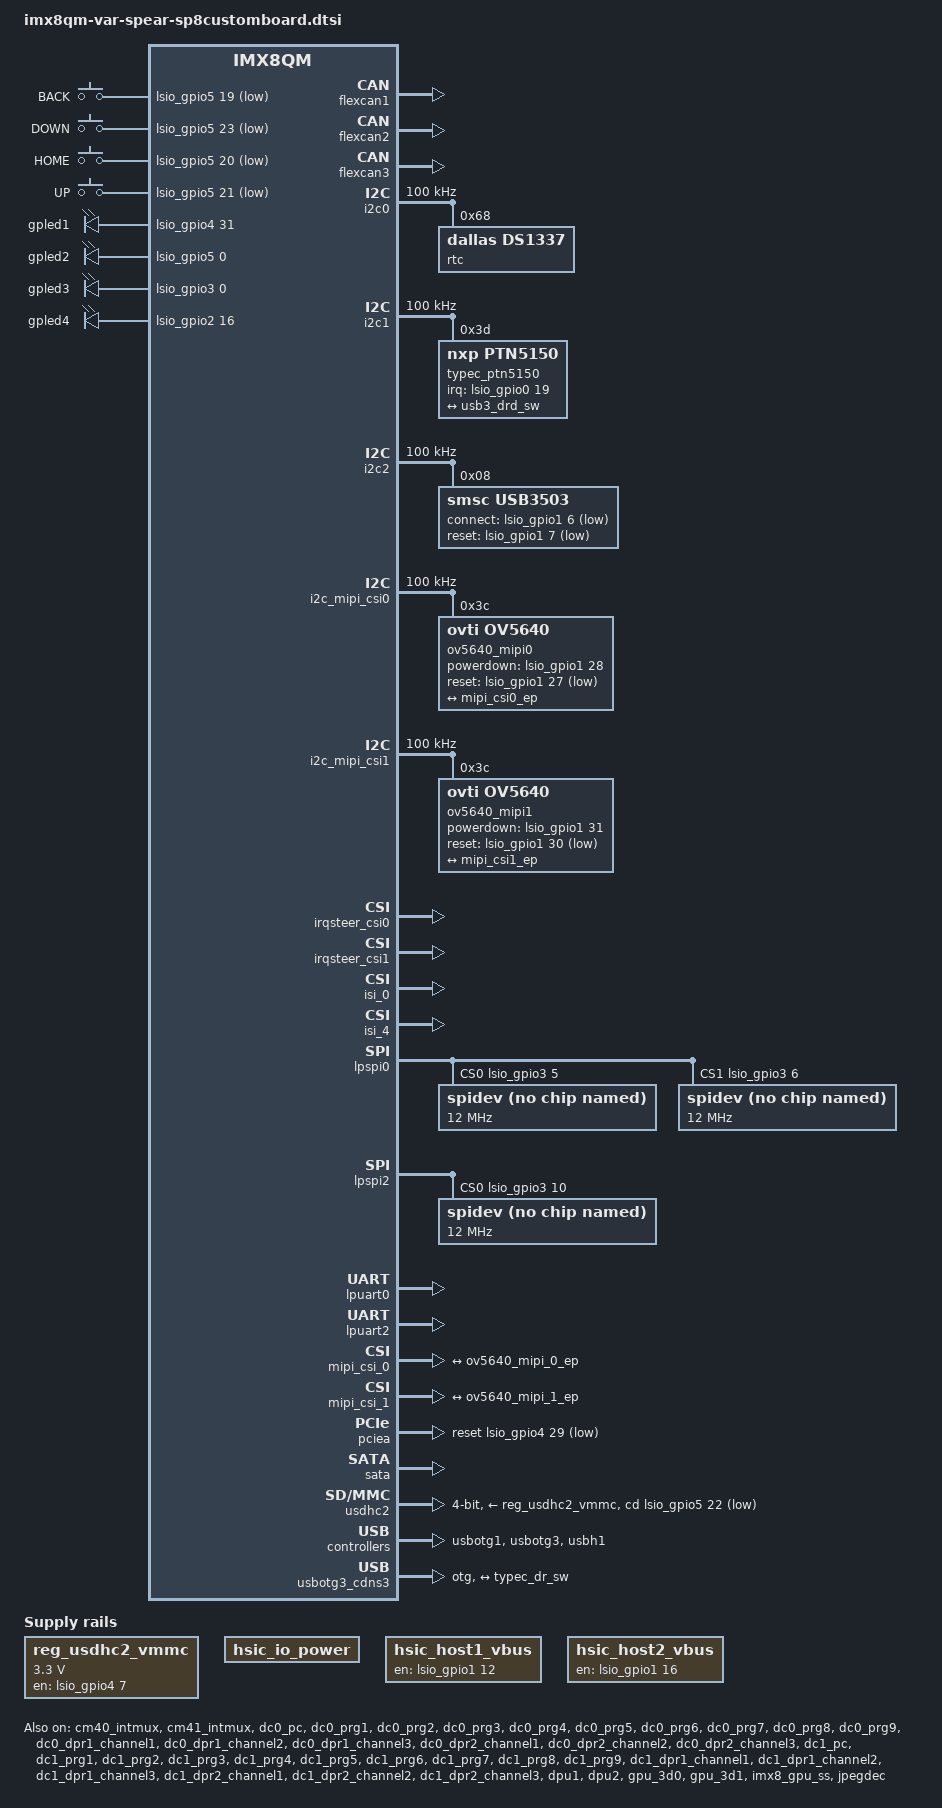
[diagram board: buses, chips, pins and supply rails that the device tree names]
/*
 * Copyright (C) 2016 Freescale Semiconductor, Inc.
 * Copyright 2017 NXP
 * Copyright 2019-2022 Variscite Ltd.
 *
 * This program is free software; you can redistribute it and/or
 * modify it under the terms of the GNU General Public License
 * as published by the Free Software Foundation; either version 2
 * of the License, or (at your option) any later version.
 *
 * This program is distributed in the hope that it will be useful,
 * but WITHOUT ANY WARRANTY; without even the implied warranty of
 * MERCHANTABILITY or FITNESS FOR A PARTICULAR PURPOSE.  See the
 * GNU General Public License for more details.
 */

#include "imx8qm-var-spear.dtsi"

/ {
	chosen {
		stdout-path = &lpuart0;
	};

	gpio-keys {
		compatible = "gpio-keys";
		pinctrl-names = "default";
		pinctrl-0 = <&pinctrl_gpio_keys>;

		back {
			label = "BACK";
			gpios = <&lsio_gpio5 19 GPIO_ACTIVE_LOW>;
			linux,code = <KEY_BACK>;
		};

		down {
			label = "DOWN";
			gpios = <&lsio_gpio5 23 GPIO_ACTIVE_LOW>;
			linux,code = <KEY_DOWN>;
		};

		home {
			label = "HOME";
			gpios = <&lsio_gpio5 20 GPIO_ACTIVE_LOW>;
			linux,code = <KEY_HOME>;
		};

		up {
			label = "UP";
			gpios = <&lsio_gpio5 21 GPIO_ACTIVE_LOW>;
			linux,code = <KEY_UP>;
		};
	};

	leds {
		compatible = "gpio-leds";
		pinctrl-names = "default";
		pinctrl-0 = <&pinctrl_gpio_leds>;

		gpled1 {
			label = "gpled1";
			gpios = <&lsio_gpio4 31 GPIO_ACTIVE_HIGH>;
			default-state = "on";
			linux,default-trigger = "heartbeat";
		};

		gpled2 {
			label = "gpled2";
			gpios = <&lsio_gpio5 0 GPIO_ACTIVE_HIGH>;
			default-state = "on";
			linux,default-trigger = "mmc0";
		};

		gpled3 {
			label = "gpled3";
			gpios = <&lsio_gpio3 0 GPIO_ACTIVE_HIGH>;
			default-state = "on";
			linux,default-trigger = "mmc1";
		};

		gpled4 {
			label = "gpled4";
			gpios = <&lsio_gpio2 16 GPIO_ACTIVE_HIGH>;
			default-state = "on";
			linux,default-trigger = "mmc1";
		};
	};

	regulators: regulators {
		compatible = "simple-bus";
		#address-cells = <1>;
		#size-cells = <0>;

		reg_usdhc2_vmmc: usdhc2_vmmc {
			compatible = "regulator-fixed";
			regulator-name = "sw-3p3-sd1";
			regulator-min-microvolt = <3300000>;
			regulator-max-microvolt = <3300000>;
			gpio = <&lsio_gpio4 7 GPIO_ACTIVE_HIGH>;
			enable-active-high;
		};

		hsic_io_power: hsic_io_power {
			compatible = "regulator-fixed";
			regulator-name = "hsic_io_power";
			regulator-always-on;
		};

		hsic_host1_vbus: hsic_host1_vbus {
			compatible = "regulator-fixed";
			regulator-name = "hsic_host1_vbus";
			gpio = <&lsio_gpio1 12 GPIO_ACTIVE_HIGH>;
			enable-active-high;
			regulator-always-on;
		};

		hsic_host2_vbus: hsic_host2_vbus {
			compatible = "regulator-fixed";
			regulator-name = "hsic_host2_vbus";
			gpio = <&lsio_gpio1 16 GPIO_ACTIVE_HIGH>;
			enable-active-high;
			regulator-always-on;
		};
	};
};

&cm40_intmux {
	status = "okay";
};

&cm41_intmux {
	status = "okay";
};

&dc0_pc {
	status = "okay";
};

&dc0_prg1 {
	status = "okay";
};

&dc0_prg2 {
	status = "okay";
};

&dc0_prg3 {
	status = "okay";
};

&dc0_prg4 {
	status = "okay";
};

&dc0_prg5 {
	status = "okay";
};

&dc0_prg6 {
	status = "okay";
};

&dc0_prg7 {
	status = "okay";
};

&dc0_prg8 {
	status = "okay";
};

&dc0_prg9 {
	status = "okay";
};

&dc0_dpr1_channel1 {
	status = "okay";
};

&dc0_dpr1_channel2 {
	status = "okay";
};

&dc0_dpr1_channel3 {
	status = "okay";
};

&dc0_dpr2_channel1 {
	status = "okay";
};

&dc0_dpr2_channel2 {
	status = "okay";
};

&dc0_dpr2_channel3 {
	status = "okay";
};

&dc1_pc {
	status = "okay";
};

&dc1_prg1 {
	status = "okay";
};

&dc1_prg2 {
	status = "okay";
};

&dc1_prg3 {
	status = "okay";
};

&dc1_prg4 {
	status = "okay";
};

&dc1_prg5 {
	status = "okay";
};

&dc1_prg6 {
	status = "okay";
};

&dc1_prg7 {
	status = "okay";
};

&dc1_prg8 {
	status = "okay";
};

&dc1_prg9 {
	status = "okay";
};

&dc1_dpr1_channel1 {
	status = "okay";
};

&dc1_dpr1_channel2 {
	status = "okay";
};

&dc1_dpr1_channel3 {
	status = "okay";
};

&dc1_dpr2_channel1 {
	status = "okay";
};

&dc1_dpr2_channel2 {
	status = "okay";
};

&dc1_dpr2_channel3 {
	status = "okay";
};

&dpu1 {
	status = "okay";
};

&dpu2 {
	status = "okay";
};

&flexcan1 {
	pinctrl-names = "default";
	pinctrl-0 = <&pinctrl_flexcan1>;
	status = "okay";
};

&flexcan2 {
	pinctrl-names = "default";
	pinctrl-0 = <&pinctrl_flexcan2>;
	status = "okay";
};

&flexcan3 {
	pinctrl-names = "default";
	pinctrl-0 = <&pinctrl_flexcan3>;
	status = "okay";
};

&flexspi0 {
	status = "disabled";
};

&gpu_3d0 {
	status = "okay";
};

&gpu_3d1 {
	status = "okay";
};

&i2c0 {
	#address-cells = <1>;
	#size-cells = <0>;
	pinctrl-names = "default";
	pinctrl-0 = <&pinctrl_lpi2c0>;
	clock-frequency = <100000>;
	status = "okay";

	captouch: ft5x06_ts@38 {
		pinctrl-names = "default";
		pinctrl-0 = <&pinctrl_captouch>;
		compatible = "edt,edt-ft5406";
		reg = <0x38>;
		interrupt-parent = <&lsio_gpio1>;
		interrupts = <5 IRQ_TYPE_EDGE_FALLING>;
		touchscreen-size-x = <800>;
		touchscreen-size-y = <480>;
		touchscreen-inverted-x;
		touchscreen-inverted-y;
		status = "disabled";
	};

	/* DS1337 RTC module */
	rtc@68 {
		compatible = "dallas,ds1337";
		reg = <0x68>;
		status = "okay";
	};
};

&i2c1 {
	#address-cells = <1>;
	#size-cells = <0>;
	clock-frequency = <100000>;
	pinctrl-names = "default";
	pinctrl-0 = <&pinctrl_lpi2c1>;
	status = "okay";

	/* USB Type-C Controller */
	typec_ptn5150: typec@3d {
		compatible = "nxp,ptn5150";
		pinctrl-names = "default";
		pinctrl-0 = <&pinctrl_ptn5150>;
		reg = <0x3d>;
		interrupt-parent = <&lsio_gpio0>;
		interrupts = <19 IRQ_TYPE_LEVEL_HIGH>;
		status ="okay";

		port {
			typec_dr_sw: endpoint {
				remote-endpoint = <&usb3_drd_sw>;
			};
		};
	};
};

&i2c2 {
	#address-cells = <1>;
	#size-cells = <0>;
	clock-frequency = <100000>;
	pinctrl-names = "default";
	pinctrl-0 = <&pinctrl_lpi2c2>;
	status = "okay";

	usb3503@8 {
		compatible = "smsc,usb3503";
		reg = <0x08>;
		connect-gpios = <&lsio_gpio1 6 GPIO_ACTIVE_LOW>;
		reset-gpios = <&lsio_gpio1 7 GPIO_ACTIVE_LOW>;
		initial-mode = <1>;
	};
};

&i2c_mipi_csi0 {
	#address-cells = <1>;
	#size-cells = <0>;
	pinctrl-names = "default";
	pinctrl-0 = <&pinctrl_i2c_mipi_csi0>;
	clock-frequency = <100000>;
	status = "okay";

	ov5640_mipi0: ov5640_mipi@3c {
		compatible = "ovti,ov5640";
		reg = <0x3c>;
		pinctrl-names = "default";
		pinctrl-0 = <&pinctrl_mipi_csi0>;
		clocks = <&xtal24m>;
		clock-names = "xclk";
		csi_id = <0>;
		powerdown-gpios = <&lsio_gpio1 28 GPIO_ACTIVE_HIGH>;
		reset-gpios = <&lsio_gpio1 27 GPIO_ACTIVE_LOW>;
		mclk = <24000000>;
		mclk_source = <0>;
		mipi_csi;

		status = "okay";
		port {
			ov5640_mipi_0_ep: endpoint {
				remote-endpoint = <&mipi_csi0_ep>;
				data-lanes = <1 2>;
				clocks-lanes = <0>;
			};
		};
	};
};

&i2c_mipi_csi1 {
	#address-cells = <1>;
	#size-cells = <0>;
	pinctrl-names = "default";
	pinctrl-0 = <&pinctrl_i2c_mipi_csi1>;
	clock-frequency = <100000>;
	status = "okay";

	ov5640_mipi1: ov5640_mipi@3c {
		compatible = "ovti,ov5640";
		reg = <0x3c>;
		pinctrl-names = "default";
		pinctrl-0 = <&pinctrl_mipi_csi1>;
		clocks = <&xtal24m>;
		clock-names = "xclk";
		csi_id = <1>;
		powerdown-gpios = <&lsio_gpio1 31 GPIO_ACTIVE_HIGH>;
		reset-gpios = <&lsio_gpio1 30 GPIO_ACTIVE_LOW>;
		mclk = <24000000>;
		mclk_source = <0>;
		mipi_csi;

		status = "okay";
		port {
			ov5640_mipi_1_ep: endpoint {
				remote-endpoint = <&mipi_csi1_ep>;
				data-lanes = <1 2>;
				clocks-lanes = <0>;
			};
		};
	};
};

&imx8_gpu_ss {
	status = "okay";
};

&iomuxc {
	imx8qm_var_spear {

		pinctrl_captouch: captouchgrp {
			fsl,pins = <
				IMX8QM_LVDS1_GPIO01_LSIO_GPIO1_IO11			0x00000021
				IMX8QM_LVDS0_GPIO01_LSIO_GPIO1_IO05			0x00000021
			>;
		};

		pinctrl_flexcan1: flexcan0grp {
			fsl,pins = <
				IMX8QM_FLEXCAN0_TX_DMA_FLEXCAN0_TX			0x00000021
				IMX8QM_FLEXCAN0_RX_DMA_FLEXCAN0_RX			0x00000021
			>;
		};

		pinctrl_flexcan2: flexcan1grp {
			fsl,pins = <
				IMX8QM_FLEXCAN1_TX_DMA_FLEXCAN1_TX			0x00000021
				IMX8QM_FLEXCAN1_RX_DMA_FLEXCAN1_RX			0x00000021
			>;
		};

		pinctrl_flexcan3: flexcan2grp {
			fsl,pins = <
				IMX8QM_FLEXCAN2_TX_DMA_FLEXCAN2_TX			0x00000021
				IMX8QM_FLEXCAN2_RX_DMA_FLEXCAN2_RX			0x00000021
			>;
		};

		pinctrl_gpio_leds: gpioledsgrp {
			fsl,pins = <
				IMX8QM_PCIE_CTRL1_WAKE_B_LSIO_GPIO4_IO31		0x00000021
				IMX8QM_PCIE_CTRL1_PERST_B_LSIO_GPIO5_IO00		0x00000021
				IMX8QM_MCLK_IN0_LSIO_GPIO3_IO00				0x00000021
				IMX8QM_SPDIF0_EXT_CLK_LSIO_GPIO2_IO16			0x00000021
			>;
		};

		pinctrl_gpio_keys: gpiokeysgrp {
			fsl,pins = <
				IMX8QM_USDHC1_DATA4_LSIO_GPIO5_IO19			0x00000021
				IMX8QM_USDHC1_DATA5_LSIO_GPIO5_IO20			0x00000021
				IMX8QM_USDHC1_DATA6_LSIO_GPIO5_IO21			0x00000021
				IMX8QM_USDHC1_STROBE_LSIO_GPIO5_IO23			0x00000021
			>;
		};

		pinctrl_hdmi_i2c: hdmii2cgrp {
			fsl,pins = <
				IMX8QM_PCIE_CTRL0_CLKREQ_B_LSIO_GPIO4_IO27		0x00000021
			>;
		};

		pinctrl_i2c_mipi_csi0: i2c_mipi_csi0 {
			fsl,pins = <
				IMX8QM_MIPI_CSI0_I2C0_SCL_MIPI_CSI0_I2C0_SCL		0xc2000020
				IMX8QM_MIPI_CSI0_I2C0_SDA_MIPI_CSI0_I2C0_SDA		0xc2000020
			>;
		};

		pinctrl_i2c_mipi_csi1: i2c_mipi_csi1 {
			fsl,pins = <
				IMX8QM_MIPI_CSI1_I2C0_SCL_MIPI_CSI1_I2C0_SCL		0xc2000020
				IMX8QM_MIPI_CSI1_I2C0_SDA_MIPI_CSI1_I2C0_SDA		0xc2000020
			>;
		};

		pinctrl_lpi2c0: lpi2c0grp {
			fsl,pins = <
				IMX8QM_HDMI_TX0_TS_SCL_DMA_I2C0_SCL			0xc6000020
				IMX8QM_HDMI_TX0_TS_SDA_DMA_I2C0_SDA			0xc6000020
			>;
		};

		pinctrl_lpi2c1: lpi2c1grp {
			fsl,pins = <
				IMX8QM_USB_SS3_TC3_DMA_I2C1_SDA				0xc6000020
				IMX8QM_USB_SS3_TC1_DMA_I2C1_SCL				0xc6000020
			>;
		};

		pinctrl_lpi2c2: lpi2c2grp {
			fsl,pins = <
				IMX8QM_GPT1_CLK_DMA_I2C2_SCL				0xc6000020
				IMX8QM_GPT1_CAPTURE_DMA_I2C2_SDA			0xc6000020
			>;
		};

		pinctrl_lpspi0: lpspi0grp {
			fsl,pins = <
				IMX8QM_SPI0_SCK_DMA_SPI0_SCK				0x0600004c
				IMX8QM_SPI0_SDO_DMA_SPI0_SDO				0x0600004c
				IMX8QM_SPI0_SDI_DMA_SPI0_SDI				0x0600004c
			>;
		};

		pinctrl_lpspi0_cs: lpspics0grp {
			fsl,pins = <
				IMX8QM_SPI0_CS0_LSIO_GPIO3_IO05				0x00000021
				IMX8QM_SPI0_CS1_LSIO_GPIO3_IO06				0x00000021
			>;
		};

		pinctrl_lpspi2: lpspi2grp {
			fsl,pins = <
				IMX8QM_SPI2_SCK_DMA_SPI2_SCK				0x0600004c
				IMX8QM_SPI2_SDO_DMA_SPI2_SDO				0x0600004c
				IMX8QM_SPI2_SDI_DMA_SPI2_SDI				0x0600004c
			>;
		};

		pinctrl_lpspi2_cs: lpspics2grp {
			fsl,pins = <
				IMX8QM_SPI2_CS0_LSIO_GPIO3_IO10				0x00000021
			>;
		};

		pinctrl_lpuart0: lpuart0grp {
			fsl,pins = <
				IMX8QM_UART0_RX_DMA_UART0_RX				0x06000020
				IMX8QM_UART0_TX_DMA_UART0_TX				0x06000020
				IMX8QM_UART0_RTS_B_DMA_UART0_RTS_B			0x06000020
				IMX8QM_UART0_CTS_B_DMA_UART0_CTS_B			0x06000020
				IMX8QM_SCU_GPIO0_06_LSIO_GPIO1_IO02			0x06000020
			>;
		};

		pinctrl_lpuart2: lpuart2grp {
			fsl,pins = <
				IMX8QM_LVDS0_I2C1_SDA_DMA_UART2_RX			0x06000020
				IMX8QM_LVDS0_I2C1_SCL_DMA_UART2_TX			0x06000020
			>;
		};

		pinctrl_mipi_csi0: mipi_csi0 {
			fsl,pins = <
				IMX8QM_MIPI_CSI0_GPIO0_00_LSIO_GPIO1_IO27		0x00000021
				IMX8QM_MIPI_CSI0_GPIO0_01_LSIO_GPIO1_IO28		0x00000021
			>;
		};

		pinctrl_mipi_csi1: mipi_csi1 {
			fsl,pins = <
				IMX8QM_MIPI_CSI1_GPIO0_00_LSIO_GPIO1_IO30		0x00000021
				IMX8QM_MIPI_CSI1_GPIO0_01_LSIO_GPIO1_IO31		0x00000021
			>;
		};

		pinctrl_pciea: pcieagrp {
			fsl,pins = <
				IMX8QM_PCIE_CTRL0_WAKE_B_LSIO_GPIO4_IO28		0x00000021
				IMX8QM_PCIE_CTRL0_PERST_B_LSIO_GPIO4_IO29		0x00000021
			>;
		};

		pinctrl_ptn5150: ptn5150grp {
			fsl,pins = <
				IMX8QM_GPT1_COMPARE_LSIO_GPIO0_IO19			0x00000021
			>;
		};

		pinctrl_pwm_lvds0: lvds0pwmgrp {
			fsl,pins = <
				IMX8QM_LVDS0_GPIO00_LVDS0_PWM0_OUT			0x00000020
			>;
		};

		pinctrl_pwm_lvds1: lvds1pwmgrp {
			fsl,pins = <
				IMX8QM_LVDS1_GPIO00_LSIO_GPIO1_IO10			0x00000020
			>;
		};

		pinctrl_usbotg1: usbotg1 {
			fsl,pins = <
				IMX8QM_USB_SS3_TC0_CONN_USB_OTG1_PWR			0x00000021
			>;
		};

		pinctrl_usdhc2_gpio: usdhc2grpgpio {
			fsl,pins = <
				IMX8QM_USDHC1_DATA7_LSIO_GPIO5_IO22			0x00000021
				IMX8QM_USDHC1_RESET_B_LSIO_GPIO4_IO07			0x00000021
			>;
		};

		pinctrl_usdhc2: usdhc2grp {
			fsl,pins = <
				IMX8QM_USDHC1_CLK_CONN_USDHC1_CLK			0x06000041
				IMX8QM_USDHC1_CMD_CONN_USDHC1_CMD			0x00000021
				IMX8QM_USDHC1_DATA0_CONN_USDHC1_DATA0			0x00000021
				IMX8QM_USDHC1_DATA1_CONN_USDHC1_DATA1			0x00000021
				IMX8QM_USDHC1_DATA2_CONN_USDHC1_DATA2			0x00000021
				IMX8QM_USDHC1_DATA3_CONN_USDHC1_DATA3			0x00000021
				IMX8QM_USDHC1_VSELECT_CONN_USDHC1_VSELECT		0x00000021
			>;
		};

		pinctrl_usdhc2_100mhz: usdhc2grp100mhz {
			fsl,pins = <
				IMX8QM_USDHC1_CLK_CONN_USDHC1_CLK			0x06000040
				IMX8QM_USDHC1_CMD_CONN_USDHC1_CMD			0x00000020
				IMX8QM_USDHC1_DATA0_CONN_USDHC1_DATA0			0x00000020
				IMX8QM_USDHC1_DATA1_CONN_USDHC1_DATA1			0x00000020
				IMX8QM_USDHC1_DATA2_CONN_USDHC1_DATA2			0x00000020
				IMX8QM_USDHC1_DATA3_CONN_USDHC1_DATA3			0x00000020
				IMX8QM_USDHC1_VSELECT_CONN_USDHC1_VSELECT		0x00000020
			>;
		};

		pinctrl_usdhc2_200mhz: usdhc2grp200mhz {
			fsl,pins = <
				IMX8QM_USDHC1_CLK_CONN_USDHC1_CLK			0x06000040
				IMX8QM_USDHC1_CMD_CONN_USDHC1_CMD			0x00000020
				IMX8QM_USDHC1_DATA0_CONN_USDHC1_DATA0			0x00000020
				IMX8QM_USDHC1_DATA1_CONN_USDHC1_DATA1			0x00000020
				IMX8QM_USDHC1_DATA2_CONN_USDHC1_DATA2			0x00000020
				IMX8QM_USDHC1_DATA3_CONN_USDHC1_DATA3			0x00000020
				IMX8QM_USDHC1_VSELECT_CONN_USDHC1_VSELECT		0x00000020
			>;
		};

		pinctrl_usb_hsic_idle: usbhsic_idle {
			fsl,pins = <
				IMX8QM_LVDS0_I2C0_SCL_LSIO_GPIO1_IO06			0x00000021
				IMX8QM_LVDS0_I2C0_SDA_LSIO_GPIO1_IO07			0x00000021
				IMX8QM_LVDS1_I2C0_SCL_LSIO_GPIO1_IO12			0x00000021
				IMX8QM_MIPI_DSI0_I2C0_SCL_LSIO_GPIO1_IO16		0x00000021
				IMX8QM_USB_HSIC0_DATA_CONN_USB_HSIC0_DATA		0xc60000cf
				IMX8QM_USB_HSIC0_STROBE_CONN_USB_HSIC0_STROBE		0xc60000cf
			>;
		};

		pinctrl_usb_hsic_active: usbsic_active {
			fsl,pins = <
				IMX8QM_LVDS0_I2C0_SCL_LSIO_GPIO1_IO06			0x00000021
				IMX8QM_LVDS0_I2C0_SDA_LSIO_GPIO1_IO07			0x00000021
				IMX8QM_LVDS1_I2C0_SCL_LSIO_GPIO1_IO12			0x00000021
				IMX8QM_MIPI_DSI0_I2C0_SCL_LSIO_GPIO1_IO16		0x00000021
				IMX8QM_USB_HSIC0_DATA_CONN_USB_HSIC0_DATA		0xc60000cf
				IMX8QM_USB_HSIC0_STROBE_CONN_USB_HSIC0_STROBE		0xc60000ff
			>;
		};

		pinctrl_wifi: wifigrp {
			fsl,pins = <
				IMX8QM_SCU_GPIO0_07_SCU_DSC_RTC_CLOCK_OUTPUT_32K	0xc600004c /* WIFI_32K_CLK   */
				IMX8QM_SCU_GPIO0_03_LSIO_GPIO0_IO31			0x06000021 /* WIFI_REG_ON    */
				IMX8QM_SCU_GPIO0_02_LSIO_GPIO0_IO30			0x00000021 /* BT_REG_ON      */
				IMX8QM_QSPI1A_DATA0_LSIO_GPIO4_IO26			0x00000021 /* BT_BUF         */
				IMX8QM_M40_GPIO0_00_LSIO_GPIO0_IO08			0x00000021 /* RS-422 control */
			>;
		};
	};
};

&irqsteer_csi0 {
	status = "okay";
};

&irqsteer_csi1 {
	status = "okay";
};

&isi_0 {
	status = "okay";

	cap_device {
		status = "okay";
	};

	m2m_device {
		status = "okay";
	};
};

&isi_4 {
	status = "okay";

	cap_device {
		status = "okay";
	};

	m2m_device {
		status = "okay";
	};
};

&jpegdec {
       status = "okay";
};

&jpegenc {
       status = "okay";
};

&lpspi0 {
	#address-cells = <1>;
	#size-cells = <0>;
	fsl,spi-num-chipselects = <2>;
	pinctrl-names = "default";
	pinctrl-0 = <&pinctrl_lpspi0 &pinctrl_lpspi0_cs>;
	cs-gpios = <&lsio_gpio3 5 0>,
		   <&lsio_gpio3 6 0>;
	status = "okay";

        spidev@0 {
		compatible = "var,spidev";
		spi-max-frequency = <12000000>;
		reg = <0>;
		status = "okay";
        };

        spidev@1 {
		compatible = "var,spidev";
		spi-max-frequency = <12000000>;
		reg = <1>;
		status = "okay";
        };
};

&lpspi2 {
	#address-cells = <1>;
	#size-cells = <0>;
	fsl,spi-num-chipselects = <1>;
	pinctrl-names = "default";
	pinctrl-0 = <&pinctrl_lpspi2 &pinctrl_lpspi2_cs>;
	cs-gpios = <&lsio_gpio3 10 0>;
	status = "okay";

        spidev@0 {
		compatible = "var,spidev";
		spi-max-frequency = <12000000>;
		reg = <0>;
		status = "okay";
        };
};

&lpuart0 { /* console */
	pinctrl-names = "default";
	pinctrl-0 = <&pinctrl_lpuart0>;
	status = "okay";
};


&lpuart2 { /* Header */
	pinctrl-names = "default";
	pinctrl-0 = <&pinctrl_lpuart2>;
	status = "okay";
};

&lsio_gpio1 {
	/* Enable wakeup-source from Capacitive touch */

	pad-wakeup-num = <1>;	/* Total number of wakeup pads in gpio1 bank */

	/*
	 IMX8QM_LVDS0_GPIO01:   Touch IRQ pin id
	 SC_PAD_WAKEUP_LOW_LVL: trigger type
	 5:                     Touch IRQ gpio pin
	*/
	pad-wakeup = <IMX8QM_LVDS0_GPIO01 SC_PAD_WAKEUP_LOW_LVL 5>;
};

&lsio_gpio5 {
	/* Enable wakeup-source from all gpio-keys*/

	pad-wakeup-num = <4>;  /* Total number of wakeup pads in gpio5 bank */

	/*
	 Each triple means:
	 gpio-key pin id
	 trigger type
	 gpio pin
	*/
	/*            KEY_BACK                                        KEY_DOWN,                                        KEY_HOME,                                       KEY_UP */
	pad-wakeup = <IMX8QM_USDHC1_DATA4 SC_PAD_WAKEUP_LOW_LVL 19>, <IMX8QM_USDHC1_STROBE SC_PAD_WAKEUP_LOW_LVL 23>, <IMX8QM_USDHC1_DATA5 SC_PAD_WAKEUP_LOW_LVL 20>, <IMX8QM_USDHC1_DATA6 SC_PAD_WAKEUP_LOW_LVL 21>;
};

&mipi_csi_0 {
	#address-cells = <1>;
	#size-cells = <0>;
	status = "okay";

	/* Camera 0  MIPI CSI-2 (CSIS0) */
	port@0 {
		reg = <0>;
		mipi_csi0_ep: endpoint {
			remote-endpoint = <&ov5640_mipi_0_ep>;
			data-lanes = <1 2>;
		};
	};
};

&mipi_csi_1 {
	#address-cells = <1>;
	#size-cells = <0>;
	status = "okay";

	/* Camera 1  MIPI CSI-2 (CSIS1) */
	port@1 {
		reg = <1>;
		mipi_csi1_ep: endpoint {
			remote-endpoint = <&ov5640_mipi_1_ep>;
			data-lanes = <1 2>;
		};
	};
};

&pciea {
	ext_osc = <1>;
	pinctrl-names = "default";
	pinctrl-0 = <&pinctrl_pciea>;
	reset-gpio = <&lsio_gpio4 29 GPIO_ACTIVE_LOW>;
	status = "okay";
};

&pcieb {
	status = "disabled";
};

&pwm_lvds0 {
        pinctrl-names = "default";
        pinctrl-0 = <&pinctrl_pwm_lvds0>;
        status = "disabled";
};

&pwm_lvds1 {
        pinctrl-names = "default";
        pinctrl-0 = <&pinctrl_pwm_lvds1>;
        status = "disabled";
};

&sata{
	status = "okay";
};

&usdhc2 {
	pinctrl-names = "default", "state_100mhz", "state_200mhz";
	pinctrl-0 = <&pinctrl_usdhc2>, <&pinctrl_usdhc2_gpio>;
	pinctrl-1 = <&pinctrl_usdhc2_100mhz>, <&pinctrl_usdhc2_gpio>;
	pinctrl-2 = <&pinctrl_usdhc2_200mhz>, <&pinctrl_usdhc2_gpio>;
	bus-width = <4>;
	cd-gpios = <&lsio_gpio5 22 GPIO_ACTIVE_LOW>;
	vmmc-supply = <&reg_usdhc2_vmmc>;
	status = "okay";
};

&usbphy1 {
	status = "okay";
};

&usbotg1 {
	pinctrl-names = "default";
	pinctrl-0 = <&pinctrl_usbotg1>;
	srp-disable;
	hnp-disable;
	adp-disable;
	ci-disable-lpm;
	power-active-high;
	disable-over-current;
	status = "okay";
};

&usb3_phy {
	status = "okay";
};

&usbotg3 {
	status = "okay";
};

&usbotg3_cdns3 {
	dr_mode = "otg";
	usb-role-switch;
	status = "okay";

	port {
		usb3_drd_sw: endpoint {
			remote-endpoint = <&typec_dr_sw>;
		};
	};
};

&usbphynop2 {
	status = "okay";
};

&usbh1 {
	pinctrl-names = "idle", "active";
	pinctrl-0 = <&pinctrl_usb_hsic_idle>;
	pinctrl-1 = <&pinctrl_usb_hsic_active>;
	srp-disable;
	hnp-disable;
	adp-disable;
	disable-over-current;

	status = "okay";
};

&vpu_decoder {
	status = "okay";
};

&vpu_encoder {
	status = "okay";
};

/delete-node/ &adma_pwm;
/delete-node/ &adma_pwm_lpcg;
